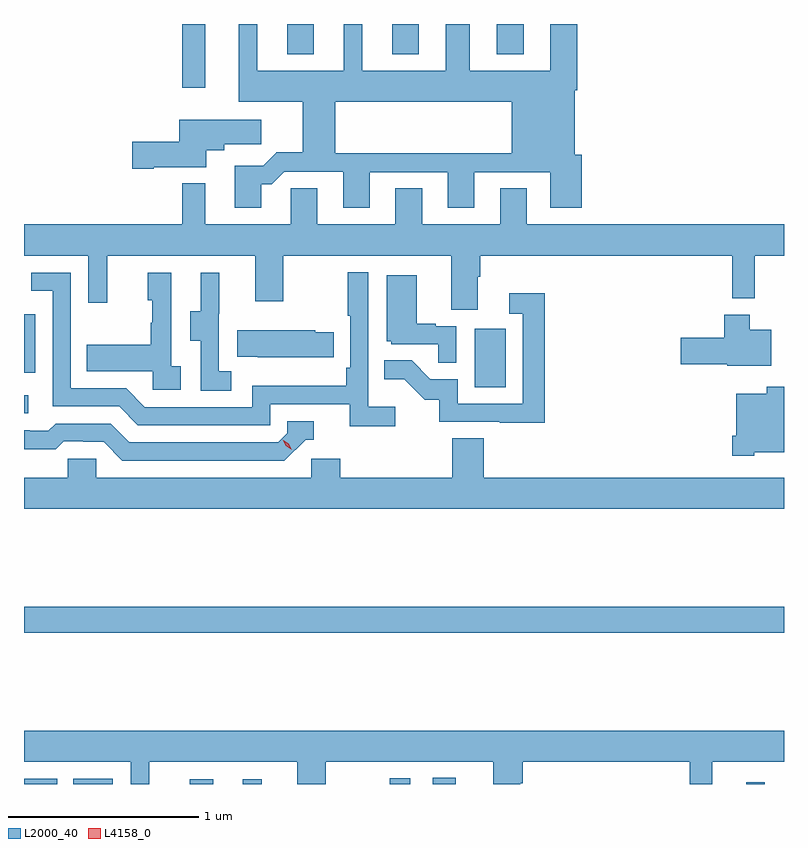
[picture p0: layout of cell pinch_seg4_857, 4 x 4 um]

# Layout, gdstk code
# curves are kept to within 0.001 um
import gdstk
lib = gdstk.Library(unit=1e-6, precision=1e-09)
def R(c, l, rs):  # rectangles x0, y0, x1, y1
    for r in rs: c.add(gdstk.rectangle(r[:2], r[2:], *l))
def A(c, l, x, y, w, h, nx, ny, dx, dy):  # array of equal rectangles
    R(c, l, [(x+i*dx, y+j*dy, x+i*dx+w, y+j*dy+h) for i in range(nx) for j in range(ny)])
def P(c, l, *ps):  # polygons
    for p in ps: c.add(gdstk.Polygon(p, *l))
L2000_40 = (2000, 40)
L4158_0 = (4158, 0)

pinch_seg4_857 = lib.new_cell('pinch_seg4_857')
A(pinch_seg4_857, L2000_40, 841.253, 799.211, 0.14, 0.16, 3, 1, 0.552, 0)
R(pinch_seg4_857, L2000_40, [(839.868,795.371,840.042,795.399), (840.127,795.371,840.336,795.399), (840.74,795.371,840.864,795.397), (841.019,795.371,841.118,795.397), (841.794,795.371,841.902,795.4), (842.018,795.371,842.14,795.403), (843.669,795.371,843.766,795.379), (839.868,796.168,843.868,796.304), (839.868,797.322,839.89,797.418), (842.24,797.46,842.404,797.767), (839.868,797.535,839.928,797.844), (840.702,799.035,840.823,799.371)])
P(pinch_seg4_857, L2000_40, [(840.977,798.625),(840.977,798.405),(841.117,798.405),(841.117,798.527),(841.172,798.527),(841.239,798.594),(841.547,798.594),(841.547,798.405),(841.687,798.405),(841.687,798.591),(842.099,798.591),(842.099,798.405),(842.239,798.405),(842.239,798.591),(842.639,798.591),(842.639,798.405),(842.804,798.405),(842.804,798.684),(842.767,798.684),(842.767,799.022),(842.78,799.022),(842.78,799.371),(842.639,799.371),(842.639,799.126),(842.215,799.126),(842.215,799.371),(842.087,799.371),(842.087,799.126),(841.648,799.126),(841.648,799.371),(841.55,799.371),(841.55,799.126),(841.096,799.126),(841.096,799.371),(840.998,799.371),(840.998,798.962),(841.334,798.962),(841.334,798.695),(841.196,798.695),(841.193,798.692),(841.505,798.692),(841.505,798.962),(842.435,798.962),(842.435,798.692),(841.193,798.692),(841.126,798.625)],
  [(840.55,798.617),(840.826,798.617),(840.826,798.707),(840.922,798.707),(840.922,798.739),(841.117,798.739),(841.117,798.868),(840.686,798.868),(840.686,798.752),(840.438,798.752),(840.438,798.61),(840.55,798.61)],
  [(842.257,798.04),(842.27,798.04),(842.27,798.152),(843.595,798.152),(843.595,797.927),(843.713,797.927),(843.713,798.152),(843.868,798.152),(843.868,798.316),(842.515,798.316),(842.515,798.506),(842.375,798.506),(842.375,798.316),(841.963,798.316),(841.963,798.506),(841.823,798.506),(841.823,798.316),(841.411,798.316),(841.411,798.506),(841.272,798.506),(841.272,798.316),(840.823,798.316),(840.823,798.532),(840.702,798.532),(840.702,798.316),(839.868,798.316),(839.868,798.152),(840.207,798.152),(840.207,797.904),(840.305,797.904),(840.305,798.152),(841.085,798.152),(841.085,797.913),(841.233,797.913),(841.233,798.152),(842.117,798.152),(842.117,797.866),(842.257,797.866)],
  [(841.822,797.356),(841.68,797.356),(841.68,798.064),(841.572,798.064),(841.572,797.836),(841.584,797.836),(841.584,797.563),(841.564,797.563),(841.564,797.467),(841.068,797.467),(841.068,797.355),(840.504,797.355),(840.405,797.454),(840.114,797.454),(840.114,798.063),(839.905,798.063),(839.905,797.967),(840.018,797.967),(840.018,797.358),(840.368,797.358),(840.467,797.259),(841.164,797.259),(841.164,797.37),(841.583,797.37),(841.583,797.254),(841.822,797.254)],
  [(840.958,797.543),(840.894,797.543),(840.894,797.847),(840.896,797.847),(840.896,798.061),(840.797,798.061),(840.797,797.859),(840.743,797.859),(840.743,797.704),(840.798,797.704),(840.798,797.44),(840.958,797.44)],
  [(840.694,797.57),(840.642,797.57),(840.642,798.061),(840.518,798.061),(840.518,797.916),(840.544,797.916),(840.544,797.798),(840.534,797.798),(840.534,797.683),(840.199,797.683),(840.199,797.543),(840.546,797.543),(840.546,797.445),(840.694,797.445)],
  [(842.142,797.781),(842.036,797.781),(842.036,797.794),(841.936,797.794),(841.936,798.049),(841.778,798.049),(841.778,797.7),(841.8,797.7),(841.8,797.685),(842.047,797.685),(842.047,797.587),(842.142,797.587)],
  [(842.609,797.953),(842.421,797.953),(842.421,797.847),(842.493,797.847),(842.493,797.373),(842.151,797.373),(842.151,797.502),(842.007,797.502),(841.909,797.6),(841.765,797.6),(841.765,797.501),(841.869,797.501),(841.976,797.394),(842.053,797.394),(842.053,797.277),(842.371,797.277),(842.371,797.272),(842.609,797.272)],
  [(843.802,797.761),(843.688,797.761),(843.688,797.842),(843.554,797.842),(843.554,797.721),(843.324,797.721),(843.324,797.579),(843.57,797.579),(843.57,797.573),(843.802,797.573)],
  [(841.499,797.748),(841.401,797.748),(841.401,797.758),(840.991,797.758),(840.991,797.621),(841.099,797.621),(841.099,797.618),(841.499,797.618)],
  [(843.711,797.117),(843.868,797.117),(843.868,797.461),(843.776,797.461),(843.776,797.425),(843.617,797.425),(843.617,797.203),(843.596,797.203),(843.596,797.099),(843.711,797.099)],
  [(841.35,797.184),(841.393,797.184),(841.393,797.28),(841.254,797.28),(841.254,797.217),(841.206,797.169),(840.423,797.169),(840.324,797.268),(840.035,797.268),(839.996,797.229),(839.897,797.229),(839.897,797.232),(839.868,797.232),(839.868,797.133),(840.035,797.133),(840.077,797.175),(840.18,797.175),(840.18,797.172),(840.287,797.172),(840.386,797.073),(841.239,797.073)],
  [(843.868,796.984),(842.288,796.984),(842.288,797.192),(842.123,797.192),(842.123,796.984),(841.532,796.984),(841.532,797.082),(841.38,797.082),(841.38,796.984),(840.249,796.984),(840.249,797.082),(840.099,797.082),(840.099,796.984),(839.868,796.984),(839.868,796.82),(843.868,796.82)],
  [(840.527,795.488),(841.307,795.488),(841.307,795.371),(841.455,795.371),(841.455,795.488),(842.339,795.488),(842.339,795.371),(842.479,795.371),(842.479,795.376),(842.492,795.376),(842.492,795.488),(843.373,795.488),(843.373,795.371),(843.491,795.371),(843.491,795.488),(843.868,795.488),(843.868,795.652),(839.868,795.652),(839.868,795.488),(840.429,795.488),(840.429,795.371),(840.527,795.371)])
P(pinch_seg4_857, L4158_0, [(841.276,797.13),(841.246,797.15),(841.23,797.183),(841.23,797.183),(841.23,797.183),(841.261,797.163),(841.277,797.13),(841.277,797.13)])

lib.write_gds('pinch_seg4_857.gds')
